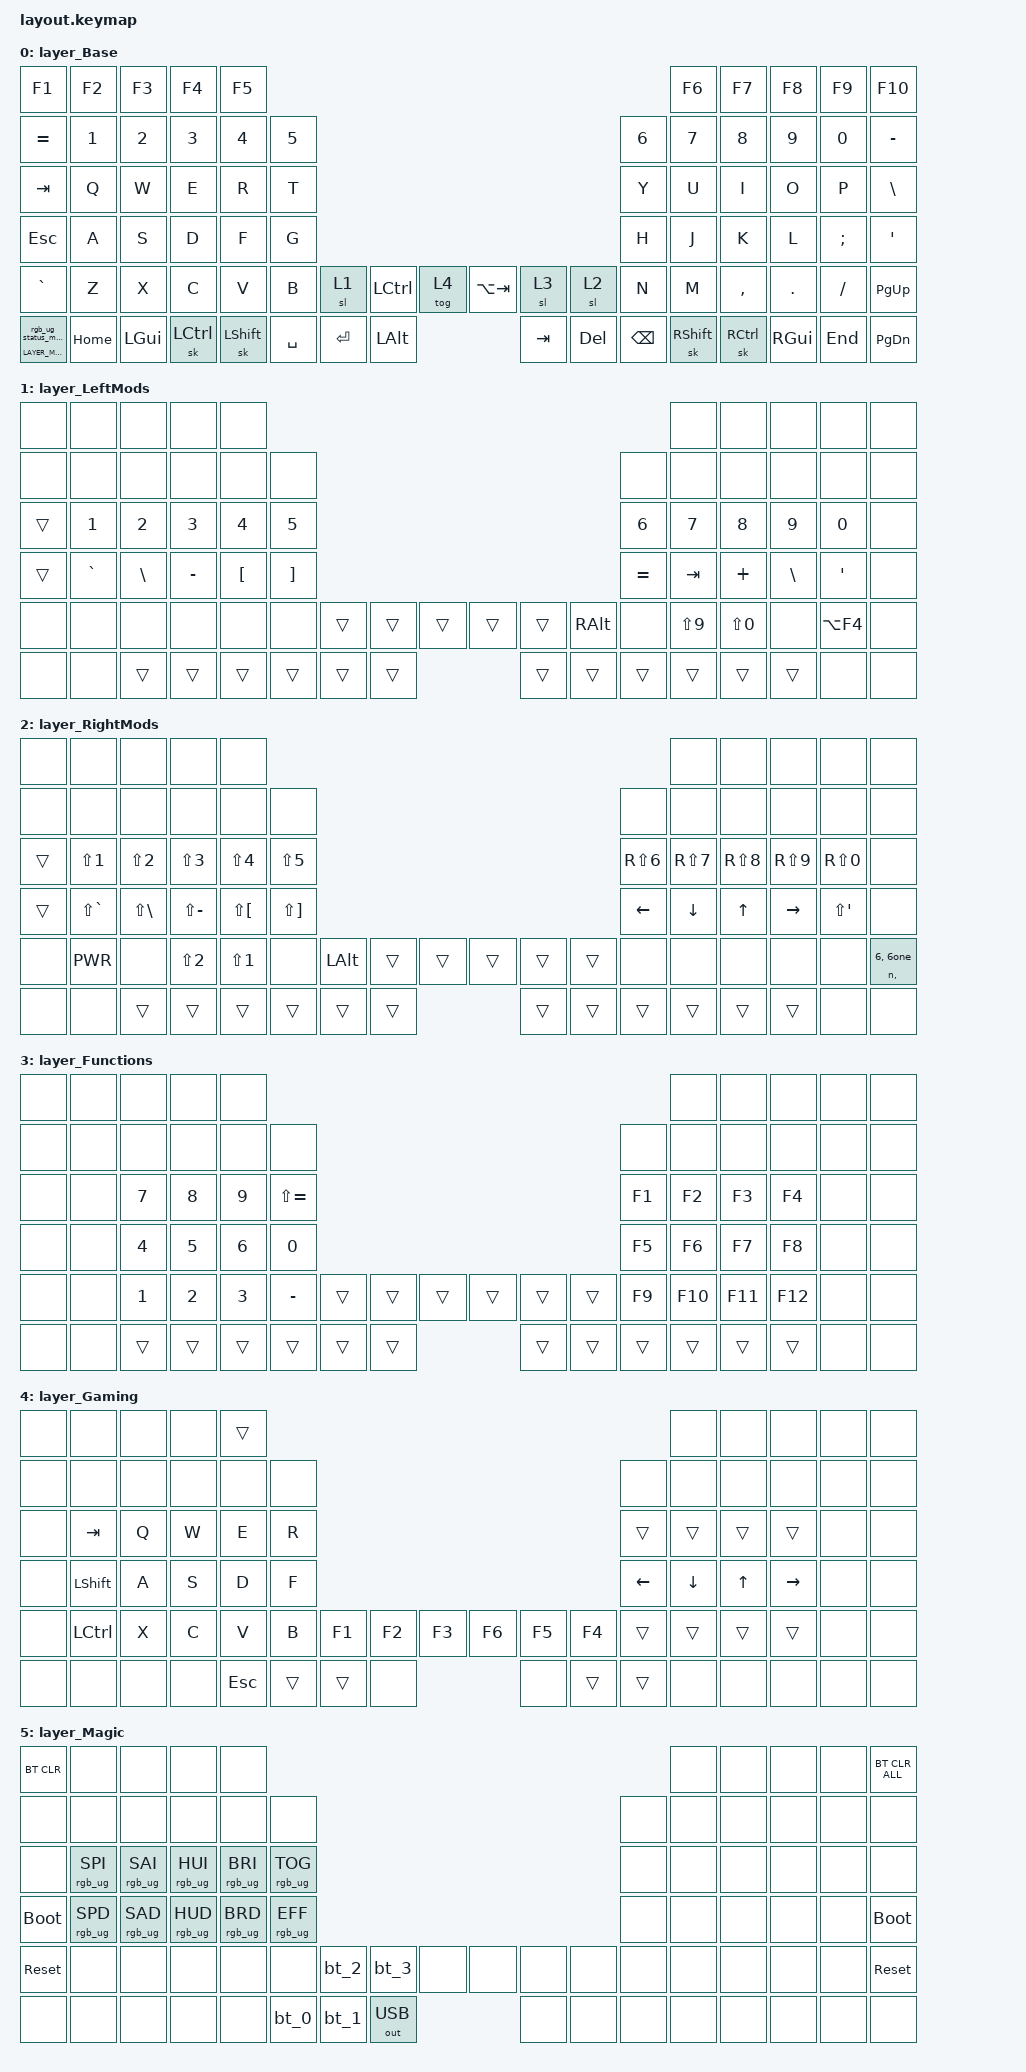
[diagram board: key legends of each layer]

/*
 * Copyright (c) 2020 The ZMK Contributors
 * Copyright (c) 2023 Innaworks Development Limited, trading as MoErgo
 *
 * SPDX-License-Identifier: MIT
 */


/* THIS FILE WAS GENERATED BY GLOVE80 LAYOUT EDITOR
 *
 * This file was generated automatically. You may or may not want to
 * edit it directly.
 */

#include <behaviors.dtsi>
/* Include all behavior includes needed */
#include <dt-bindings/zmk/outputs.h>
#include <dt-bindings/zmk/keys.h>
#include <dt-bindings/zmk/bt.h>
#include <dt-bindings/zmk/rgb.h>

/* Automatically generated layer name #define */
#define LAYER_Base 0
#define LAYER_LeftMods 1
#define LAYER_RightMods 2
#define LAYER_Functions 3
#define LAYER_Gaming 4
#define LAYER_Magic 5

/* To deal with the situation where there is no Lower layer, to keep &lower happy */
#ifndef LAYER_Lower
#define LAYER_Lower 0
#endif

/* Custom Device-tree */



/* Glove80 system behavior & macros */
/ {
    behaviors {
        // For the "layer" key, it'd nice to be able to use it as either a shift or a toggle.
        // Configure it as a tap dance, so the first tap (or hold) is a &mo and the second tap is a &to
        lower: lower {
            compatible = "zmk,behavior-tap-dance";
            label = "LAYER_TAP_DANCE";
            #binding-cells = <0>;
            tapping-term-ms = <200>;
            bindings = <&mo LAYER_Lower>, <&to LAYER_Lower>;
        };
    };
};

/ {
    macros {
        rgb_ug_status_macro: rgb_ug_status_macro {
            label = "RGB_UG_STATUS";
            compatible = "zmk,behavior-macro";
            #binding-cells = <0>;
            bindings
                = <&rgb_ug RGB_STATUS>;
        };
    };
};


/ {
#ifdef BT_DISC_CMD
    behaviors {
        bt_0: bt_0 {
            compatible = "zmk,behavior-tap-dance";
            label = "BT_0";
            #binding-cells = <0>;
            tapping-term-ms = <200>;
            bindings = <&bt_select_0>, <&bt BT_DISC 0>;
        };
        bt_1: bt_1 {
            compatible = "zmk,behavior-tap-dance";
            label = "BT_1";
            #binding-cells = <0>;
            tapping-term-ms = <200>;
            bindings = <&bt_select_1>, <&bt BT_DISC 1>;
        };
        bt_2: bt_2 {
            compatible = "zmk,behavior-tap-dance";
            label = "BT_2";
            #binding-cells = <0>;
            tapping-term-ms = <200>;
            bindings = <&bt_select_2>, <&bt BT_DISC 2>;
        };
        bt_3: bt_3 {
            compatible = "zmk,behavior-tap-dance";
            label = "BT_3";
            #binding-cells = <0>;
            tapping-term-ms = <200>;
            bindings = <&bt_select_3>, <&bt BT_DISC 3>;
        };
    };
    macros {
        bt_select_0: bt_select_0 {
            label = "BT_SELECT_0";
            compatible = "zmk,behavior-macro";
            #binding-cells = <0>;
            bindings
                = <&out OUT_BLE>,
                  <&bt BT_SEL 0>;
        };
        bt_select_1: bt_select_1 {
            label = "BT_SELECT_1";
            compatible = "zmk,behavior-macro";
            #binding-cells = <0>;
            bindings
                = <&out OUT_BLE>,
                  <&bt BT_SEL 1>;
        };
        bt_select_2: bt_select_2 {
            label = "BT_SELECT_2";
            compatible = "zmk,behavior-macro";
            #binding-cells = <0>;
            bindings
                = <&out OUT_BLE>,
                  <&bt BT_SEL 2>;
        };
        bt_select_3: bt_select_3 {
            label = "BT_SELECT_3";
            compatible = "zmk,behavior-macro";
            #binding-cells = <0>;
            bindings
                = <&out OUT_BLE>,
                  <&bt BT_SEL 3>;
        };
    };
#else
    macros {
        bt_0: bt_0 {
            label = "BT_0";
            compatible = "zmk,behavior-macro";
            #binding-cells = <0>;
            bindings
                = <&out OUT_BLE>,
                  <&bt BT_SEL 0>;
        };
        bt_1: bt_1 {
            label = "BT_1";
            compatible = "zmk,behavior-macro";
            #binding-cells = <0>;
            bindings
                = <&out OUT_BLE>,
                  <&bt BT_SEL 1>;
        };
        bt_2: bt_2 {
            label = "BT_2";
            compatible = "zmk,behavior-macro";
            #binding-cells = <0>;
            bindings
                = <&out OUT_BLE>,
                  <&bt BT_SEL 2>;
        };
        bt_3: bt_3 {
            label = "BT_3";
            compatible = "zmk,behavior-macro";
            #binding-cells = <0>;
            bindings
                = <&out OUT_BLE>,
                  <&bt BT_SEL 3>;
        };
    };
#endif
};

/ {
    behaviors {
        magic: magic {
            compatible = "zmk,behavior-hold-tap";
            label = "MAGIC_HOLD_TAP";
            #binding-cells = <2>;
            flavor = "tap-preferred";
            tapping-term-ms = <200>;
            bindings = <&mo>, <&rgb_ug_status_macro>;
        };
    };
};

/* #define for key positions */
#define POS_LH_T1 52
#define POS_LH_T2 53
#define POS_LH_T3 54
#define POS_LH_T4 69
#define POS_LH_T5 70
#define POS_LH_T6 71
#define POS_LH_C1R2 15
#define POS_LH_C1R3 27
#define POS_LH_C1R4 39
#define POS_LH_C1R5 51
#define POS_LH_C2R1 4
#define POS_LH_C2R2 14
#define POS_LH_C2R3 26
#define POS_LH_C2R4 38
#define POS_LH_C2R5 50
#define POS_LH_C2R6 68
#define POS_LH_C3R1 3
#define POS_LH_C3R2 13
#define POS_LH_C3R3 25
#define POS_LH_C3R4 37
#define POS_LH_C3R5 49
#define POS_LH_C3R6 67
#define POS_LH_C4R1 2
#define POS_LH_C4R2 12
#define POS_LH_C4R3 24
#define POS_LH_C4R4 36
#define POS_LH_C4R5 48
#define POS_LH_C4R6 66
#define POS_LH_C5R1 1
#define POS_LH_C5R2 11
#define POS_LH_C5R3 23
#define POS_LH_C5R4 35
#define POS_LH_C5R5 47
#define POS_LH_C5R6 65
#define POS_LH_C6R1 0
#define POS_LH_C6R2 10
#define POS_LH_C6R3 22
#define POS_LH_C6R4 34
#define POS_LH_C6R5 46
#define POS_LH_C6R6 64
#define POS_RH_T1 57
#define POS_RH_T2 56
#define POS_RH_T3 55
#define POS_RH_T4 74
#define POS_RH_T5 73
#define POS_RH_T6 72
#define POS_RH_C1R2 16
#define POS_RH_C1R3 28
#define POS_RH_C1R4 40
#define POS_RH_C1R5 58
#define POS_RH_C2R1 5
#define POS_RH_C2R2 17
#define POS_RH_C2R3 29
#define POS_RH_C2R4 41
#define POS_RH_C2R5 59
#define POS_RH_C2R6 75
#define POS_RH_C3R1 6
#define POS_RH_C3R2 18
#define POS_RH_C3R3 30
#define POS_RH_C3R4 42
#define POS_RH_C3R5 60
#define POS_RH_C3R6 76
#define POS_RH_C4R1 7
#define POS_RH_C4R2 19
#define POS_RH_C4R3 31
#define POS_RH_C4R4 43
#define POS_RH_C4R5 61
#define POS_RH_C4R6 77
#define POS_RH_C5R1 8
#define POS_RH_C5R2 20
#define POS_RH_C5R3 32
#define POS_RH_C5R4 44
#define POS_RH_C5R5 62
#define POS_RH_C5R6 78
#define POS_RH_C6R1 9
#define POS_RH_C6R2 21
#define POS_RH_C6R3 33
#define POS_RH_C6R4 45
#define POS_RH_C6R5 63
#define POS_RH_C6R6 79

/* Custom Defined Behaviors */
/ {

};

/* Automatically generated macro definitions */
/ {
    macros {
    
    };
};

/* Automatically generated keymap */
/ {
    keymap {
        compatible = "zmk,keymap";


        layer_Base {
            bindings = <
               &kp F1    &kp F2    &kp F3     &kp F4     &kp F5                                                                                     &kp F6     &kp F7    &kp F8    &kp F9    &kp F10
            &kp EQUAL    &kp N1    &kp N2     &kp N3     &kp N4  &kp N5                                                                  &kp N6     &kp N7     &kp N8    &kp N9    &kp N0  &kp MINUS
              &kp TAB     &kp Q     &kp W      &kp E      &kp R   &kp T                                                                   &kp Y      &kp U      &kp I     &kp O     &kp P   &kp BSLH
              &kp ESC     &kp A     &kp S      &kp D      &kp F   &kp G                                                                   &kp H      &kp J      &kp K     &kp L  &kp SEMI    &kp SQT
            &kp GRAVE     &kp Z     &kp X      &kp C      &kp V   &kp B      &sl 1  &kp LCTRL    &tog 4  &kp LA(TAB)    &sl 3     &sl 2   &kp N      &kp M  &kp COMMA   &kp DOT  &kp FSLH  &kp PG_UP
 &magic LAYER_Magic 0  &kp HOME  &kp LGUI  &sk LCTRL  &sk LSHFT          &kp SPACE    &kp RET  &kp LALT      &kp TAB  &kp DEL  &kp BSPC          &sk RSHFT  &sk RCTRL  &kp RGUI   &kp END  &kp PG_DN
            >;
        };

        layer_LeftMods {
            bindings = <
  &none      &none     &none      &none     &none                                                                              &none       &none     &none       &none   &none
  &none      &none     &none      &none     &none     &none                                                        &none       &none       &none     &none       &none   &none
 &trans     &kp N1    &kp N2     &kp N3    &kp N4    &kp N5                                                       &kp N6      &kp N7      &kp N8    &kp N9      &kp N0   &none
 &trans  &kp GRAVE  &kp BSLH  &kp MINUS  &kp LBKT  &kp RBKT                                                    &kp EQUAL     &kp TAB    &kp PLUS  &kp BSLH     &kp SQT   &none
  &none      &none     &none      &none     &none     &none  &trans  &trans  &trans  &trans  &trans  &kp RALT      &none  &kp LS(N9)  &kp LS(N0)     &none  &kp LA(F4)   &none
  &none      &none    &trans     &trans    &trans            &trans  &trans  &trans  &trans  &trans    &trans                 &trans      &trans    &trans       &none   &none
            >;
        };

        layer_RightMods {
            bindings = <
  &none          &none         &none          &none         &none                                                                                   &none       &none       &none        &none   &none
  &none          &none         &none          &none         &none         &none                                                         &none       &none       &none       &none        &none   &none
 &trans     &kp LS(N1)    &kp LS(N2)     &kp LS(N3)    &kp LS(N4)    &kp LS(N5)                                                    &kp RS(N6)  &kp RS(N7)  &kp RS(N8)  &kp RS(N9)   &kp RS(N0)   &none
 &trans  &kp LS(GRAVE)  &kp LS(BSLH)  &kp LS(MINUS)  &kp LS(LBKT)  &kp LS(RBKT)                                                      &kp LEFT    &kp DOWN      &kp UP   &kp RIGHT  &kp LS(SQT)   &none
  &none      &kp C_PWR         &none     &kp LS(N2)    &kp LS(N1)         &none  &kp LALT  &trans  &trans  &trans  &trans  &trans       &none       &none       &none       &none        &none   &n, 6, 6one
  &none          &none        &trans         &trans        &trans                  &trans  &trans  &trans  &trans  &trans  &trans                  &trans      &trans      &trans        &none   &none
            >;
        };

        layer_Functions {
            bindings = <
  &none   &none   &none   &none   &none                                                                           &none    &none    &none   &none   &none
  &none   &none   &none   &none   &none          &none                                                   &none    &none    &none    &none   &none   &none
  &none   &none  &kp N7  &kp N8  &kp N9  &kp LS(EQUAL)                                                  &kp F1   &kp F2   &kp F3   &kp F4   &none   &none
  &none   &none  &kp N4  &kp N5  &kp N6         &kp N0                                                  &kp F5   &kp F6   &kp F7   &kp F8   &none   &none
  &none   &none  &kp N1  &kp N2  &kp N3      &kp MINUS  &trans  &trans  &trans  &trans  &trans  &trans  &kp F9  &kp F10  &kp F11  &kp F12   &none   &none
  &none   &none  &trans  &trans  &trans                 &trans  &trans  &trans  &trans  &trans  &trans           &trans   &trans   &trans   &none   &none
            >;
        };

        layer_Gaming {
            bindings = <
  &none      &none   &none   &none   &trans                                                                       &none   &none      &none   &none   &none
  &none      &none   &none   &none    &none   &none                                                     &none     &none   &none      &none   &none   &none
  &none    &kp TAB   &kp Q   &kp W    &kp E   &kp R                                                    &trans    &trans  &trans     &trans   &none   &none
  &none  &kp LSHFT   &kp A   &kp S    &kp D   &kp F                                                  &kp LEFT  &kp DOWN  &kp UP  &kp RIGHT   &none   &none
  &none  &kp LCTRL   &kp X   &kp C    &kp V   &kp B  &kp F1  &kp F2  &kp F3  &kp F6  &kp F5  &kp F4    &trans    &trans  &trans     &trans   &none   &none
  &none      &none   &none   &none  &kp ESC          &trans  &trans   &none   &none  &trans  &trans               &none   &none      &none   &none   &none
            >;
        };

        layer_Magic {
            bindings = <
  &bt BT_CLR            &none            &none            &none            &none                                                                                  &none   &none   &none   &none  &bt BT_CLR_ALL
       &none            &none            &none            &none            &none            &none                                                         &none   &none   &none   &none   &none           &none
       &none  &rgb_ug RGB_SPI  &rgb_ug RGB_SAI  &rgb_ug RGB_HUI  &rgb_ug RGB_BRI  &rgb_ug RGB_TOG                                                         &none   &none   &none   &none   &none           &none
 &bootloader  &rgb_ug RGB_SPD  &rgb_ug RGB_SAD  &rgb_ug RGB_HUD  &rgb_ug RGB_BRD  &rgb_ug RGB_EFF                                                         &none   &none   &none   &none   &none     &bootloader
  &sys_reset            &none            &none            &none            &none            &none   &bt_2   &bt_3         &none   &none   &none   &none   &none   &none   &none   &none   &none      &sys_reset
       &none            &none            &none            &none            &none                    &bt_0   &bt_1  &out OUT_USB   &none   &none   &none           &none   &none   &none   &none           &none
            >;
        };

    };
};
